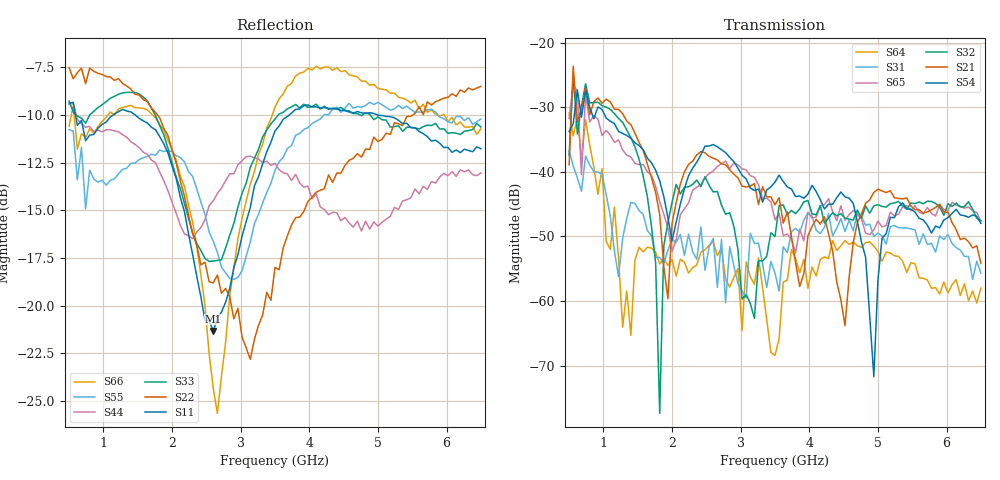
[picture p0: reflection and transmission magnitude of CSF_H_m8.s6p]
!Keysight Technologies,M9804A,MY58100912,A.14.10.03
!Date: Thursday, April 27, 2023 10:28:33
!Correction: S11(C  6-Port  )
!S12(C  6-Port  )
!S13(C  6-Port  )
!S14(C  6-Port  )
!S15(C  6-Port  )
!S16(C  6-Port  )
!S21(C  6-Port  )
!S22(C  6-Port  )
!S23(C  6-Port  )
!S24(C  6-Port  )
!S25(C  6-Port  )
!S26(C  6-Port  )
!S31(C  6-Port  )
!S32(C  6-Port  )
!S33(C  6-Port  )
!S34(C  6-Port  )
!S35(C  6-Port  )
!S36(C  6-Port  )
!S41(C  6-Port  )
!S42(C  6-Port  )
!S43(C  6-Port  )
!S44(C  6-Port  )
!S45(C  6-Port  )
!S46(C  6-Port  )
!S51(C  6-Port  )
!S52(C  6-Port  )
!S53(C  6-Port  )
!S54(C  6-Port  )
!S55(C  6-Port  )
!S56(C  6-Port  )
!S61(C  6-Port  )
!S62(C  6-Port  )
!S63(C  6-Port  )
!S64(C  6-Port  )
!S65(C  6-Port  )
!S66(C  6-Port  )
!S6P File: Measurement: :
# Hz S  RI  R 50
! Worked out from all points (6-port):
!   101 points, 500 MHz to 6.5 GHz, reference 50 ohm
!   strongest paths, dB at 500 MHz, 2 GHz, 3.5 GHz, 5 GHz, 6.5 GHz:
!     S54: -33.8, -50.7, -41.6, -56.7, -48.0
!     S21: -38.9, -48.0, -45.1, -42.7, -54.2
!     S32: -37.4, -44.7, -50.0, -45.1, -47.6
!     S65: -31.7, -52.3, -47.4, -47.6, -47.6
!     S31: -36.7, -50.4, -55.7, -49.5, -55.7
!     S64: -30.9, -53.6, -68.4, -52.3, -58.0
!   lowest |S11| = -21.3 dB at 2.6 GHz (marker M1), VSWR 1.19, Z = 42.4 + j2.29 ohm
!   |S11| at or under -10 dB: 592.6 MHz to 1.144 GHz (551.5 MHz wide, 63.5 % of centre); 1.461 GHz to 3.709 GHz (2.248 GHz wide, 87 % of centre); 4.989 GHz to end of sweep
